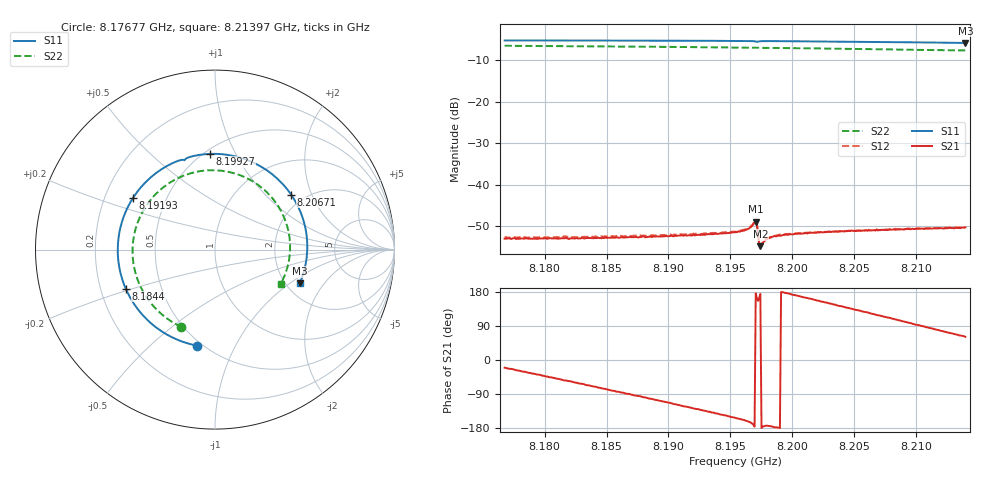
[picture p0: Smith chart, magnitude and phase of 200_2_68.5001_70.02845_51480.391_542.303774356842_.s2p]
#  HZ  S  RI  R  50.00
! Rohde & Schwarz Vector Network Analyzer
! Rohde-Schwarz,ZNB20-2Port,1311601062101988,3.16
! Created: UTC 3/20/2024, 4:57:35 PM
! freq[Hz]  re:S11  im:S11  re:S21  im:S21  re:S12  im:S12  re:S22  im:S22
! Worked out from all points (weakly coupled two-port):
!   401 points, 8.17677 GHz to 8.21397 GHz, reference 50 ohm
!   highest |S21| = -48.86 dB at 8.19704 GHz (marker M1); lowest = -54.8 dB at 8.19741 GHz (marker M2)
!   lowest |S11| = -5.9 dB at 8.21397 GHz (marker M3), VSWR 3.06, Z = 118 - j59.9 ohm
!   |S11| at or under -10 dB: nowhere
!   |S22| runs from -7.7 to -6.6 dB; largest |S21 - S12| = 0.00018
!   S11 on the Smith chart (normalised r, x): 8.17677 GHz: 0.47, -0.71; 8.1844 GHz: 0.31, -0.19; 8.19193 GHz: 0.32, +0.26; 8.19927 GHz: 0.53, +0.80; 8.20671 GHz: 1.71, +1.44; 8.21397 GHz: 2.36, -1.20
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8.176771e9  -0.1016 -0.5347  0.0021 -0.000777  0.00218 -0.000821  -0.1866 -0.4311
8.179654e9  -0.2857 -0.4628  0.00174 -0.00143  0.00178 -0.00153  -0.3199 -0.3394
8.183001e9  -0.4509 -0.3026  0.00105 -0.00204  0.00102 -0.00212  -0.4241 -0.1856
8.184396e9  -0.4972 -0.2176  0.000657 -0.00219  0.000684 -0.00229  -0.4478 -0.1117
8.186907e9  -0.5399 -0.0487  -4.23e-06 -0.00235  -5.52e-05 -0.00242  -0.4581 0.0267
8.189232e9  -0.5293 0.113  -0.000709 -0.00228  -0.000804 -0.00236  -0.4302 0.1523
8.191928e9  -0.4575 0.2868  -0.00148 -0.00196  -0.0016 -0.00199  -0.3556 0.2812
8.195369e9  -0.2859 0.4551  -0.00237 -0.00125  -0.00246 -0.00117  -0.2054 0.3987
8.196299e9  -0.227 0.486  -0.00272 -0.000948  -0.00284 -0.000864  -0.157 0.4184
8.196857e9  -0.1876 0.4994  -0.00332 -0.00053  -0.00341 -0.000418  -0.1269 0.4275
8.19695e9  -0.1802 0.5003  -0.00347 -0.000248  -0.00355 -0.000134  -0.1219 0.4288
8.197043e9  -0.1735 0.4994  -0.0036 0.000255  -0.00363 0.000435  -0.1169 0.4298
8.197415e9  -0.1595 0.5081  -0.00181 0.000179  -0.00186 0.000214  -0.0966 0.4345
8.197508e9  -0.153 0.5115  -0.00188 -1.11e-05  -0.00192 5.62e-05  -0.0914 0.4353
8.198252e9  -0.0998 0.5256  -0.0023 -0.000211  -0.00236 -0.000124  -0.0497 0.4408
8.199275e9  -0.0273 0.5334  -0.00248 6.2e-05  -0.0025 0.000191  0.00824 0.4417
8.201599e9  0.1355 0.5136  -0.00249 0.000884  -0.00249 0.00103  0.1375 0.4151
8.204017e9  0.2897 0.4413  -0.00216 0.00172  -0.00209 0.00181  0.2582 0.3469
8.206714e9  0.4241 0.3064  -0.0014 0.00247  -0.0013 0.00248  0.3606 0.228
8.20783e9  0.4639 0.2377  -0.00106 0.00268  -0.000934 0.00276  0.3893 0.1685
8.210898e9  0.5141 0.0261  0.00018 0.00295  0.000243 0.00299  0.4177 -0.013
8.213967e9  0.4718 -0.1883  0.00148 0.00268  0.00157 0.00265  0.365 -0.1933
